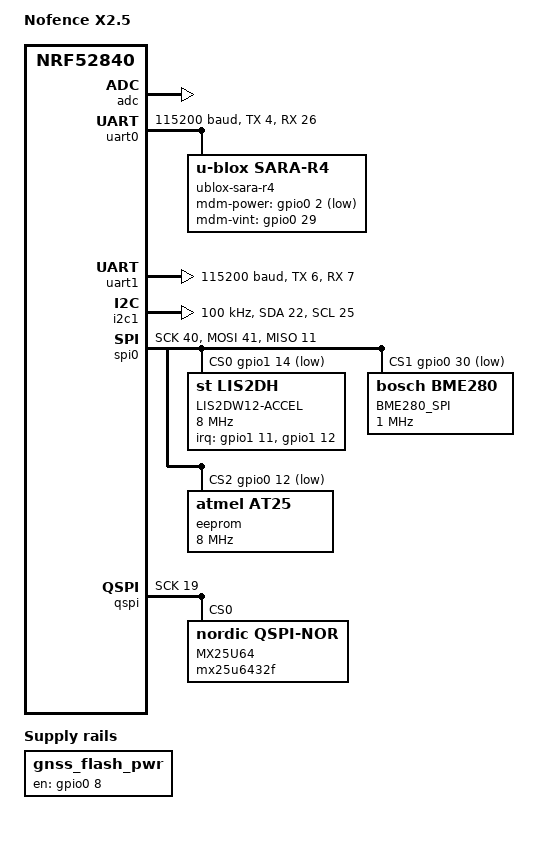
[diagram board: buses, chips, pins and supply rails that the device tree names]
/*
 * Copyright (c) 2017 Linaro Limited
 *
 * SPDX-License-Identifier: Apache-2.0
 */

/dts-v1/;
#include <nordic/nrf52840_qiaa.dtsi>

/ {
	model = "Nofence X2.5";
	compatible = "nofence,x25";


	/* Electric pulse */
	ep {
		compatible = "nofence,electric-pulse";
		ep_ctrl: ep_ctrl {
			gpios = <&gpio0 17 GPIO_ACTIVE_HIGH>;
			label = "EP CTRL";
		};

		ep_detect: ep_detect {
			gpios = <&gpio0 15 GPIO_ACTIVE_LOW>;
			label = "EP DETECT";
		};
	};

	/* Convenience aliases */
	aliases {
		eeprom = &eeprom0;
		ep-ctrl = &ep_ctrl;
		ep-detect = &ep_detect;
	};

	chosen {
		zephyr,sram = &sram0;
		zephyr,flash = &flash0;
		zephyr,code-partition = &slot0_partition;
	};

	gnss_flash_pwr: periph-pwr-ctrl {
		compatible = "regulator-fixed-sync", "regulator-fixed";
		label = "periph-pwr-ctrl";
		regulator-name = "periph-pwr-ctrl";
		enable-gpios = <&gpio0 8 GPIO_ACTIVE_HIGH>;
		regulator-boot-on;
	};

};

&adc {
	status = "okay";
};

&gpiote {
	status = "okay";
};

&gpio0 {
	status = "okay";
};

&gpio1 {
	status = "okay";
};

/* u-blox SARA-R4 Modem */
modem_uart: &uart0 {
	compatible = "nordic,nrf-uarte";
	current-speed = <115200>;
	status = "okay";
	tx-pin = <4>; /* P0.04 */
	rx-pin = <26>; /* P0.26 */
	sara_r4 {
		compatible = "u-blox,sara-r4";
		label = "ublox-sara-r4";
		status = "okay";
		mdm-power-gpios = <&gpio0 2 GPIO_ACTIVE_LOW>;
		/* mdm-reset-gpios = <&gpio1 10 GPIO_ACTIVE_HIGH>; */
		mdm-vint-gpios = <&gpio0 29 GPIO_ACTIVE_HIGH>;
	};
};

/* FOR u-blox MIA-M10 GNSS */
gnss_uart: &uart1 {
	compatible = "nordic,nrf-uarte";
	current-speed = <115200>;
	status = "okay";
	tx-pin = <6>; /* P0.06 */
	rx-pin = <7>; /* P0.07 */
	/* TODO: Add driver spesific gpios */
	/* vin-supply = <&gnss_flash_pwr>; */
};

&i2c0 {
	status = "disabled";
};

&i2c1 {
	compatible = "nordic,nrf-twi";
	/* Cannot be used together with spi1. */
	status = "okay";
	sda-pin = <22>; /* P0.22 */
	scl-pin = <25>; /* P0.25 */
	clock-frequency = <I2C_BITRATE_STANDARD>;


};

&pwm0 {
	status = "disabled";
	ch0-pin = <13>;
	ch0-inverted;
};

&spi0 {
	compatible = "nordic,nrf-spi";
	/* Cannot be used together with i2c0. */
	status = "okay";
	sck-pin = <40>; /* P1.08 */
	mosi-pin = <41>;/* P1.09 */
	miso-pin = <11>;/* P0.11 */
	cs-gpios = <&gpio1 14 GPIO_ACTIVE_LOW>, /* CS ACCELEROMETER */
	           <&gpio0 30 GPIO_ACTIVE_LOW>, /* CS BAROMETER */
	           <&gpio0 12 GPIO_ACTIVE_LOW>; /* CS EEPROM */

	movement_sensor: lis2dw12@0 {
		status = "okay";
		compatible = "st,lis2dh";
		reg = <0>; /* First defined chip select number*/
		irq-gpios = <&gpio1 11 0>, <&gpio1 12 0>; /* INT1 and INT2 */
		spi-max-frequency = <8000000>;
		disconnect-sdo-sa0-pull-up; /* Disable pull up during init to save power */
		label = "LIS2DW12-ACCEL";
	};

	environment_sensor: bme280@1 {
		compatible = "bosch,bme280";
		label = "BME280_SPI";
		reg = <1>;
		spi-max-frequency = <1000000>;
	};

	eeprom0: eeprom@2 {
		compatible = "atmel,at25";
		reg = <2>;
		label = "eeprom";
		/*wp-gpios = <&gpiob 7 GPIO_ACTIVE_LOW>;*/
		size = <DT_SIZE_K(4)>;
		pagesize = <16>;
		address-width = <8>;
		timeout = <10>;
		status = "okay";
		spi-max-frequency = <8000000>;
	};
};

&spi1 {
	status = "disabled";
};

&spi2 {
	status = "disabled";
};

&qspi {
	status = "okay";
	sck-pin = <19>;
	io-pins = <20>, <23>, <24>, <21>;
	csn-pins = <18>;
	mx25u64: mx25u6432f@0 {
		compatible = "nordic,qspi-nor";
		reg = <0>;
		/* MX24U64 supports only pp and pp4io */
		writeoc = "pp4io";
		/* MX24U64 supports all readoc options */
		readoc = "read4io";
		sck-frequency = <8000000>;
		label = "MX25U64";
		/* vin-supply = <&gnss_flash_pwr>; */
		jedec-id = [ c2 25 37  ];
		sfdp-bfp = [ e5 20 f1 ff ff ff ff 03 44 eb 08 6b 08 3b 04 bb ee ff ff ff ff ff 00 ff ff ff 00 ff 0c 20 0f 52 10 d8 00 ff 23 72 f5 00 82 ed 04 cc 44 83 68 44 30 b0 30 b0 f7 c4 d5 5c 00 be 29 ff f0 d0 ff ff  ];
		size = <67108864>;
		has-dpd;
		t-enter-dpd = <10000>;
		t-exit-dpd = <35000>;
	};
};

&flash0 {

	partitions {
		compatible = "fixed-partitions";
		#address-cells = <1>;
		#size-cells = <1>;

		boot_partition: partition@0 {
			label = "mcuboot";
			reg = <0x000000000 0x0000C000>;
		};
		slot0_partition: partition@c000 {
			label = "image-0";
			reg = <0x0000C000 0x00067000>;
		};
		slot1_partition: partition@73000 {
			label = "image-1";
			reg = <0x00073000 0x00067000>;
		};
		scratch_partition: partition@da000 {
			label = "image-scratch";
			reg = <0x000da000 0x0001e000>;
		};

		/*
		 * The flash starting at 0x000f8000 and ending at
		 * 0x000fffff is reserved for use by the application.
		 */

		/*
		 * Storage partition will be used by FCB/LittleFS/NVS
		 * if enabled.
		 */
		storage_partition: partition@f8000 {
			label = "storage";
			reg = <0x000f8000 0x00008000>;
		};
	};
};

&usbd {
	compatible = "nordic,nrf-usbd";
	status = "disabled";
};
